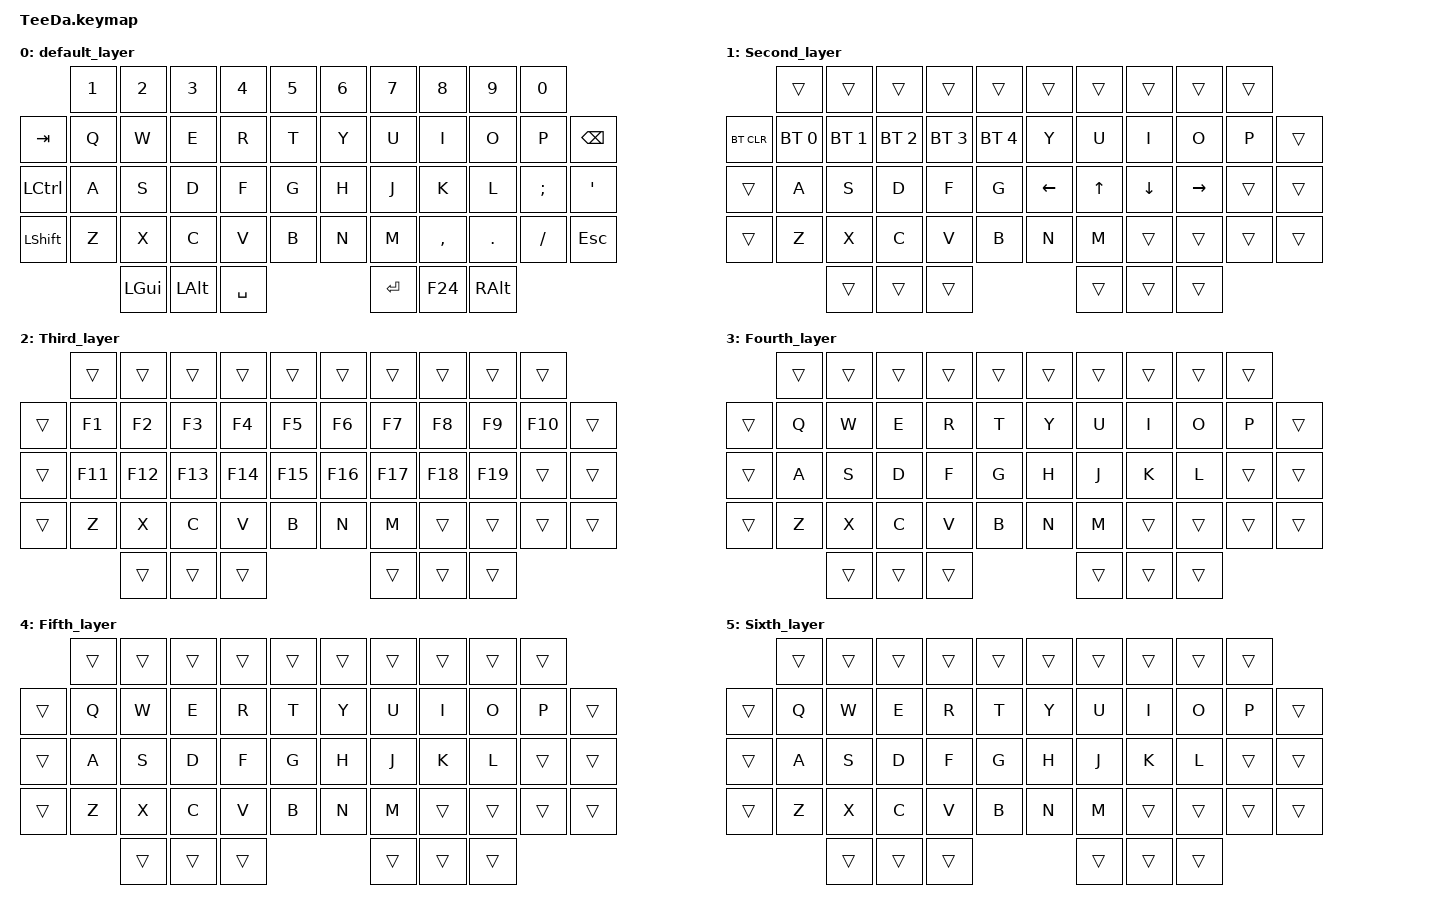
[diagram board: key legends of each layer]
/*
 * Copyright (c) 2020 The ZMK Contributors
 *
 * SPDX-License-Identifier: MIT
 */

#include <behaviors.dtsi>
#include <dt-bindings/zmk/keys.h>
#include <dt-bindings/zmk/bt.h>

/ {
    combos {
    compatible = "zmk,combos";
    timeout-ms = <100>;

    layer1_combo {
        key-positions = <1 51>; /* 1 + F24 */
        bindings = <&to 0>;
    };
    layer2_combo {
        key-positions = <2 51>; /* 2 + F24 */
        bindings = <&to 1>;
    };
    layer3_combo {
        key-positions = <3 51>; /* 3 + F24 */
        bindings = <&to 2>;
    };
    layer4_combo {
        key-positions = <4 51>; /* 4 + F24 */
        bindings = <&to 3>;
    };
    layer5_combo {
        key-positions = <5 51>; /* 5 + F24 */
        bindings = <&to 4>;
    };
    layer6_combo {
        key-positions = <6 51>; /* 6 + F24 */
        bindings = <&to 5>;
    };
};

        keymap {
                compatible = "zmk,keymap";

                default_layer {
// -----------------------------------------------------------------------------------------
//        |  1  |  2  |  3  |  4  |  5  |   |  6  |  7   |  8  |  9  |  0  |
// |  TAB |  Q  |  W  |  E  |  R  |  T  |   |  Y  |  U   |  I  |  O  |  P  | BSPC |
// | CTRL |  A  |  S  |  D  |  F  |  G  |   |  H  |  J   |  K  |  L  |  ;  |  '   |
// | SHFT |  Z  |  X  |  C  |  V  |  B  |   |  N  |  M   |  ,  |  .  |  /  | ESC  |
//                    | GUI | ALT | SPC |   | ENT | F24  | ALT |
                        bindings = <
             &kp N1 &kp N2 &kp N3 &kp N4 &kp N5   &kp N6 &kp N7  &kp N8     &kp N9   &kp N0
   &kp TAB   &kp Q &kp W &kp E &kp R &kp T        &kp Y  &kp U  &kp I     &kp O   &kp P    &kp BSPC
   &kp LCTRL &kp A &kp S &kp D &kp F &kp G        &kp H  &kp J  &kp K     &kp L   &kp SEMI &kp SQT
   &kp LSHFT &kp Z &kp X &kp C &kp V &kp B        &kp N  &kp M  &kp COMMA &kp DOT &kp FSLH &kp ESC
                  &kp LGUI &kp LALT &kp SPACE        &kp RET &kp F24 &kp RALT
                        >;
                };
                Second_layer {
// -----------------------------------------------------------------------------------------
//        |  1  |  2  |  3  |  4  |  5  |   |  6  |  7   |  8  |  9  |  0  |
// |BT_CLR|  BT1|  BT2|  BT3|  BT4|  BT5|   |  Y  |  U   |  I  |  O  |  P  | BSPC |
// | CTRL |  A  |  S  |  D  |  F  |  G  |   |  LFT  |  UP   |  DWN  |  RGT  |  ;  |  '   |
// | SHFT |  Z  |  X  |  C  |  V  |  B  |   |  N  |  M   |  ,  |  .  |  /  | ESC  |
//                    | GUI | LWR | SPC |   | ENT | F24  | ALT |
                        bindings = <
             &trans &trans &trans &trans &trans   &trans &trans  &trans &trans   &trans
   &bt BT_CLR   &bt BT_SEL 0 &bt BT_SEL 1 &bt BT_SEL 2 &bt BT_SEL 3 &bt BT_SEL 4        &kp Y  &kp U  &kp I     &kp O   &kp P    &trans
   &trans &kp A &kp S &kp D &kp F &kp G        &kp LEFT  &kp UP  &kp DOWN  &kp RIGHT   &trans &trans
   &trans &kp Z &kp X &kp C &kp V &kp B        &kp N  &kp M  &trans &trans &trans &trans
                         &trans &trans &trans     &trans &trans &trans
                        >;
                };
                Third_layer {
// -----------------------------------------------------------------------------------------
//        |  1  |  2  |  3  |  4  |  5  |   |  6  |  7   |  8  |  9  |  0  |
// |  TAB |  F1 | F2  | F3  | F4  | F5  |   | F6  | F7   | F8  | F9  | F10  | BSPC |
// | CTRL | F11 | F12 | F13 | F14 | F15 |   | F16 | F17  | F18 | F19 |  ;  |  '   |
// | SHFT |  Z  |  X  |  C  |  V  |  B  |   |  N  |  M   |  ,  |  .  |  /  | ESC  |
//                    | GUI | LWR | SPC |   | ENT | F24  | ALT |
                        bindings = <
             &trans &trans &trans &trans &trans   &trans &trans  &trans &trans   &trans
   &trans   &kp F1 &kp F2 &kp F3 &kp F4 &kp F5        &kp F6  &kp F7  &kp F8     &kp F9   &kp F10    &trans
   &trans &kp F11 &kp F12 &kp F13 &kp F14 &kp F15        &kp F16  &kp F17  &kp F18 &kp F19   &trans &trans
   &trans &kp Z &kp X &kp C &kp V &kp B        &kp N  &kp M  &trans &trans &trans &trans
                         &trans &trans &trans     &trans &trans &trans
                        >;
                };
                Fourth_layer {
// -----------------------------------------------------------------------------------------
//        |  1  |  2  |  3  |  4  |  5  |   |  6  |  7   |  8  |  9  |  0  |
// |  TAB |  Q  |  W  |  E  |  R  |  T  |   |  Y  |  U   |  I  |  O  |  P  | BSPC |
// | CTRL |  A  |  S  |  D  |  F  |  G  |   |  H  |  J   |  K  |  L  |  ;  |  '   |
// | SHFT |  Z  |  X  |  C  |  V  |  B  |   |  N  |  M   |  ,  |  .  |  /  | ESC  |
//                    | GUI | LWR | SPC |   | ENT | F24  | ALT |
                        bindings = <
             &trans &trans &trans &trans &trans   &trans &trans  &trans &trans   &trans
   &trans   &kp Q &kp W &kp E &kp R &kp T        &kp Y  &kp U  &kp I     &kp O   &kp P    &trans
   &trans &kp A &kp S &kp D &kp F &kp G        &kp H  &kp J  &kp K     &kp L   &trans &trans
   &trans &kp Z &kp X &kp C &kp V &kp B        &kp N  &kp M  &trans &trans &trans &trans
                         &trans &trans &trans     &trans &trans &trans
                        >;
                };
                Fifth_layer {
// -----------------------------------------------------------------------------------------
//        |  1  |  2  |  3  |  4  |  5  |   |  6  |  7   |  8  |  9  |  0  |
// |  TAB |  Q  |  W  |  E  |  R  |  T  |   |  Y  |  U   |  I  |  O  |  P  | BSPC |
// | CTRL |  A  |  S  |  D  |  F  |  G  |   |  H  |  J   |  K  |  L  |  ;  |  '   |
// | SHFT |  Z  |  X  |  C  |  V  |  B  |   |  N  |  M   |  ,  |  .  |  /  | ESC  |
//                    | GUI | LWR | SPC |   | ENT | F24  | ALT |
                        bindings = <
             &trans &trans &trans &trans &trans   &trans &trans  &trans &trans   &trans
   &trans   &kp Q &kp W &kp E &kp R &kp T        &kp Y  &kp U  &kp I     &kp O   &kp P    &trans
   &trans &kp A &kp S &kp D &kp F &kp G        &kp H  &kp J  &kp K     &kp L   &trans &trans
   &trans &kp Z &kp X &kp C &kp V &kp B        &kp N  &kp M  &trans &trans &trans &trans
                         &trans &trans &trans     &trans &trans &trans
                        >;
                };
                Sixth_layer {
// -----------------------------------------------------------------------------------------
//        |  1  |  2  |  3  |  4  |  5  |   |  6  |  7   |  8  |  9  |  0  |
// |  TAB |  Q  |  W  |  E  |  R  |  T  |   |  Y  |  U   |  I  |  O  |  P  | BSPC |
// | CTRL |  A  |  S  |  D  |  F  |  G  |   |  H  |  J   |  K  |  L  |  ;  |  '   |
// | SHFT |  Z  |  X  |  C  |  V  |  B  |   |  N  |  M   |  ,  |  .  |  /  | ESC  |
//                    | GUI | LWR | SPC |   | ENT | F24  | ALT |
                        bindings = <
             &trans &trans &trans &trans &trans   &trans &trans  &trans &trans   &trans
   &trans   &kp Q &kp W &kp E &kp R &kp T        &kp Y  &kp U  &kp I     &kp O   &kp P    &trans
   &trans &kp A &kp S &kp D &kp F &kp G        &kp H  &kp J  &kp K     &kp L   &trans &trans
   &trans &kp Z &kp X &kp C &kp V &kp B        &kp N  &kp M  &trans &trans &trans &trans
                         &trans &trans &trans     &trans &trans &trans
                        >;
                };
        };

};
